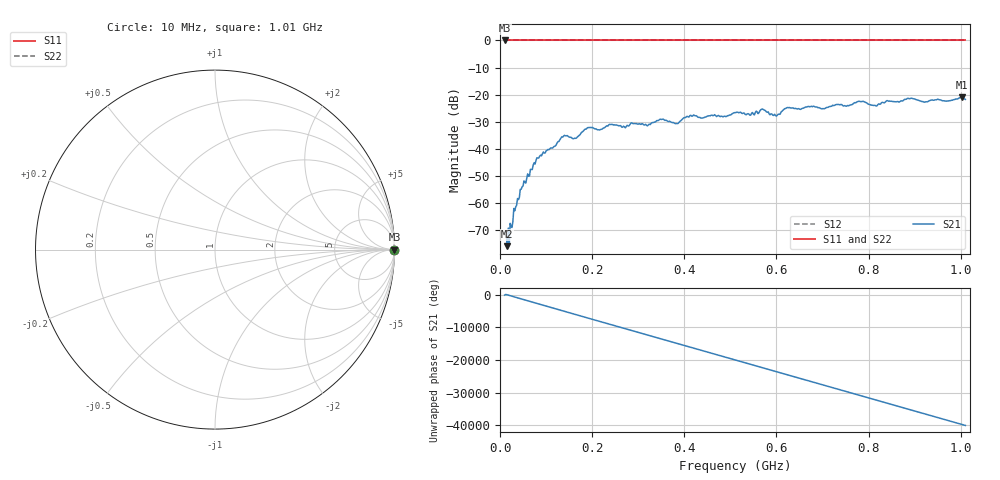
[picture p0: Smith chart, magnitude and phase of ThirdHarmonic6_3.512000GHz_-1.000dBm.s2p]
! 8/17/2025 11:29:57 AM
! C:\ANRITSUVNA\TEMP\TEMP.S2P
! CHANNEL.1
! TR.MEASUREMENT
! RAW.DATA
! RF.CORRECTION.OFF
! AVERAGING.OFF
! IF.BANDWIDTH: 5KHZ
! SWEEPTYPE:  FREQ.SWEEP(Linear)
! Reference Plane Port Info
! PORT:  PORT1  PORT2
! DISTANCE:  0  m  0  m
! TIME:  0  s  0  s
! PHASE.OFFSET:  0  deg.  0  deg.
! LOSS:  0  dB  0  dB
! REF.LOSS:  0  dB  0  dB
! REF.FREQ:  0  Hz  0  Hz
! Power Info
! POWER:  -20  dBm  -20  dBm
! EFF.POWER:  -20  dBm  -20  dBm
! SOURCE.ATTEN:  0  dB  0  dB
! TEST.ATTEN:  0  dB  0  dB
# GHZ S RI R 50.0
! FREQ.GHZ  S11RE  S11IM  S21RE  S21IM  S12RE  S12IM  S22RE  S22IM
!; PortSelection: Port_12
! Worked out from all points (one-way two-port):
!   501 points, 10 MHz to 1.01 GHz, reference 50 ohm
!   highest |S21| = -20.99 dB at 1.002 GHz (marker M1); lowest = -75.8 dB at 16 MHz (marker M2)
!   lowest |S11| = 0.0 dB at 10 MHz (marker M3)
!   |S11| at or under -10 dB: nowhere
!   |S22| runs from 0.0 to 0.0 dB; largest |S21 - S12| = 1.1
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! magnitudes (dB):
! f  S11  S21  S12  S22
! 10 MHz  0.0  -70.8  0.0  0.0
! 16 MHz  0.0  -75.8  0.0  0.0
! 48 MHz  0.0  -53.9  0.0  0.0
! 78 MHz  0.0  -44.3  0.0  0.0
! 136 MHz  0.0  -35.6  0.0  0.0
! 162 MHz  0.0  -36.0  0.0  0.0
! 178 MHz  0.0  -33.7  0.0  0.0
! 194 MHz  0.0  -32.1  0.0  0.0
! 322 MHz  0.0  -31.1  0.0  0.0
! 344 MHz  0.0  -29.5  0.0  0.0
! 384 MHz  0.0  -30.6  0.0  0.0
! 416 MHz  0.0  -27.9  0.0  0.0
! 510 MHz  0.0  -26.6  0.0  0.0
! 570 MHz  0.0  -25.3  0.0  0.0
! 598 MHz  0.0  -27.7  0.0  0.0
! 624 MHz  0.0  -24.7  0.0  0.0
! 678 MHz  0.0  -24.4  0.0  0.0
! 782 MHz  0.0  -22.5  0.0  0.0
! 814 MHz  0.0  -23.9  0.0  0.0
! 844 MHz  0.0  -22.4  0.0  0.0
! 1.002 GHz  0.0  -21.0  0.0  0.0
! 1.01 GHz  0.0  -21.7  0.0  0.0
